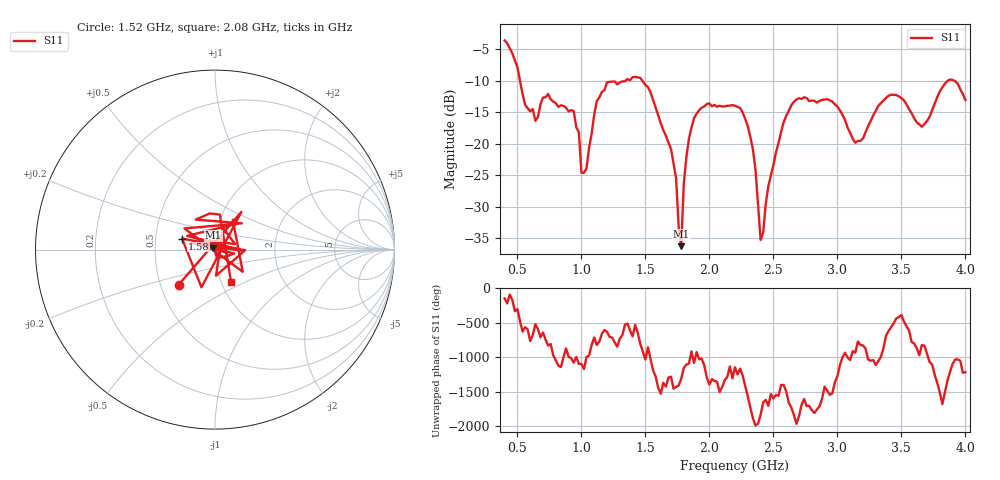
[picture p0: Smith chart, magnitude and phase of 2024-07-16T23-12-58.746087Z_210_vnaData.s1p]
!Created with skrf (http://scikit-rf.org).
# Hz S RI R 50.0
!freq ReS11 ImS11
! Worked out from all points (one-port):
!   181 points, 400 MHz to 4 GHz, reference 50 ohm
!   lowest |S11| = -36.3 dB at 1.78 GHz (marker M1), VSWR 1.03, Z = 49 + j1.13 ohm
!   |S11| at or under -10 dB: 520.1 MHz to 1.344 GHz (823.9 MHz wide, 88.4 % of centre); 1.477 GHz to 3.861 GHz (2.384 GHz wide, 89.3 % of centre); 3.914 GHz to end of sweep
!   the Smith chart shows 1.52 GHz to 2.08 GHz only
!   S11 on the Smith chart (normalised r, x): 1.52 GHz: 0.62, -0.26; 1.58 GHz: 0.69, +0.09; 2.08 GHz: 1.11, -0.42
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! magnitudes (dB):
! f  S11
! 400 MHz  -3.6
! 640 MHz  -16.4
! 860 MHz  -14.0
! 940 MHz  -14.8
! 1.02 GHz  -24.6
! 1.12 GHz  -13.2
! 1.3 GHz  -10.2
! 1.52 GHz  -11.0
! 1.58 GHz  -14.3
! 1.7 GHz  -20.8
! 1.74 GHz  -25.5
! 1.76 GHz  -33.3
! 1.78 GHz  -36.3
! 1.82 GHz  -22.1
! 1.88 GHz  -15.9
! 2.08 GHz  -14.0
! 2.2 GHz  -14.0
! 2.34 GHz  -20.9
! 2.4 GHz  -35.3
! 2.52 GHz  -21.4
! 2.66 GHz  -13.3
! 2.96 GHz  -13.3
! 3.1 GHz  -18.3
! 3.42 GHz  -12.2
! 3.56 GHz  -14.5
! 3.66 GHz  -17.3
! 3.88 GHz  -9.8
! 4 GHz  -13.0
